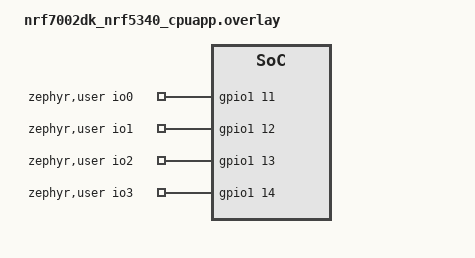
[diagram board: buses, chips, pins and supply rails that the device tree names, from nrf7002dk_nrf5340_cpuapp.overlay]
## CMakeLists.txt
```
cmake_minimum_required(VERSION 3.20.0)
find_package(Zephyr REQUIRED HINTS $ENV{ZEPHYR_BASE})

project(twt-testbed)

target_include_directories(app PRIVATE ${ZEPHYR_BASE}/subsys/net/ip)

zephyr_include_directories(${ZEPHYR_BASE}/modules/mbedtls/include)

# Include directories for each module
target_include_directories(app PRIVATE
    ${CMAKE_CURRENT_SOURCE_DIR}/src/coap
    ${CMAKE_CURRENT_SOURCE_DIR}/src/profiler
    ${CMAKE_CURRENT_SOURCE_DIR}/src/wifi
    ${CMAKE_CURRENT_SOURCE_DIR}/src/tests
)

# Main source file
target_sources(app PRIVATE src/main.c)

# CoAP module
target_sources(app PRIVATE 
    src/coap/coap.c
    src/coap/coap_utils.c
    src/coap/coap_security.c
    )

# Profiler module
target_sources(app PRIVATE src/profiler/profiler.c)

# WiFi module
target_sources(app PRIVATE
    src/wifi/wifi_ps.c
    src/wifi/wifi_sta.c
    src/wifi/wifi_twt.c
    src/wifi/wifi_utils.c
)

# Tests module
target_sources(app PRIVATE 
    src/tests/test_runner.c
    src/tests/test_report.c
    src/tests/test_global.c
    src/tests/test_sensor_twt.c
    src/tests/test_sensor_ps.c
    src/tests/test_sensor_twt_public_server.c
    src/tests/test_sensor_ps_public_server.c
    src/tests/test_large_packet_ps.c
    src/tests/test_large_packet_ps_public_server.c
    src/tests/test_large_packet_twt.c
    src/tests/test_large_packet_twt_public_server.c
    src/tests/test_actuator_ps.c
    src/tests/test_actuator_ps_public_server.c
    src/tests/test_actuator_twt.c
    src/tests/test_actuator_twt_public_server.c
    src/tests/test_multi_packet_ps.c
    src/tests/test_multi_packet_ps_public_server.c
    src/tests/test_multi_packet_twt.c
    src/tests/test_multi_packet_twt_public_server.c
)
```

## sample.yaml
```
sample:
  description: Wi-Fi TWT testbed
    application
  name: twt-testbed
tests:
  twt-testbed:
    integration_platforms:
      - nrf7002dk/nrf5340/cpuapp/ns
    platform_allow: nrf7002dk/nrf5340/cpuapp/ns
```

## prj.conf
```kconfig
#
# Copyright (c) 2025 Nordic Semiconductor ASA
#
# SPDX-License-Identifier: LicenseRef-Nordic-5-Clause
#

# General
CONFIG_LOG=y
CONFIG_ASSERT=y
CONFIG_REBOOT=y
CONFIG_MAIN_STACK_SIZE=8192
CONFIG_LOG_BUFFER_SIZE=8192
CONFIG_ENTROPY_GENERATOR=y
CONFIG_HEAP_MEM_POOL_SIZE=120000


# WiFi
CONFIG_WIFI=y
CONFIG_WIFI_NRF70=y
CONFIG_WIFI_NM_WPA_SUPPLICANT=y
CONFIG_NRF_WIFI_RPU_RECOVERY=y
CONFIG_WIFI_MGMT_EXT=y
CONFIG_WIFI_CREDENTIALS=y
CONFIG_WIFI_CREDENTIALS_STATIC=y




# Networking
CONFIG_NETWORKING=y
CONFIG_NET_SOCKETS=y
CONFIG_NET_IPV4=y
CONFIG_NET_UDP=y
CONFIG_NET_DHCPV4=y
CONFIG_NET_IPV6=y


#priority
CONFIG_NET_CONTEXT_PRIORITY=y

# CoAP
CONFIG_COAP=y

# DNS
CONFIG_DNS_RESOLVER=y


#DTLS
CONFIG_MBEDTLS=y
CONFIG_MBEDTLS_ENABLE_HEAP=y
CONFIG_MBEDTLS_HEAP_SIZE=65536
CONFIG_MBEDTLS_SSL_MAX_CONTENT_LEN=2048
CONFIG_MBEDTLS_KEY_EXCHANGE_PSK_ENABLED=y
CONFIG_MBEDTLS_CIPHER_AES_ENABLED=y
CONFIG_MBEDTLS_SHA256_C=y
CONFIG_MBEDTLS_CIPHER_MODE_CBC=y
CONFIG_MBEDTLS_SSL_DTLS_CONNECTION_ID=y
CONFIG_MBEDTLS_SSL_PROTO_DTLS=y
CONFIG_NET_SOCKETS_SOCKOPT_TLS=y
CONFIG_NET_SOCKETS_ENABLE_DTLS=y
```

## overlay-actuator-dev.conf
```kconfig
CONFIG_COAP_TWT_TESTBED_SERVER=y
CONFIG_COAP_TEST_SERVER_HOSTNAME="192.168.1.228"
CONFIG_COAP_TEST_SERVER_PORT=5683
CONFIG_WIFI_CREDENTIALS_STATIC_SSID="asus-ax58u"
CONFIG_WIFI_CREDENTIALS_STATIC_PASSWORD="twttestbench"
CONFIG_TWT_ANNOUNCED_MODE=y
CONFIG_TWT_IMPLICIT=y
CONFIG_PS_LISTEN_INTERVAL=10
CONFIG_ACTUATOR_TESTS_ENABLE=y
CONFIG_ACTUATOR_PS_TEST_1=y
CONFIG_ACTUATOR_PS_TEST_1_MIN_INTERVAL=20
CONFIG_ACTUATOR_PS_TEST_1_MAX_INTERVAL=40
CONFIG_ACTUATOR_PS_TEST_1_ECHO=y
CONFIG_ACTUATOR_PS_TEST_1_TIME=900
CONFIG_MY_MAIN_LOG_LEVEL=3
CONFIG_MY_WIFI_LOG_LEVEL=3
CONFIG_MY_COAP_LOG_LEVEL=3
CONFIG_MY_TEST_LOG_LEVEL=3
CONFIG_WIFI=y
CONFIG_MAIN_STACK_SIZE=8192
CONFIG_INIT_STACKS=y
CONFIG_LOG=y
CONFIG_ASSERT=y
CONFIG_REBOOT=y
CONFIG_LOG_BUFFER_SIZE=4096
CONFIG_NET_PKT_RX_COUNT=8
CONFIG_NET_PKT_TX_COUNT=8
CONFIG_HEAP_MEM_POOL_SIZE=120000
CONFIG_WIFI_CREDENTIALS=y
CONFIG_WIFI_CREDENTIALS_STATIC=y
CONFIG_HEAP_MEM_POOL_IGNORE_MIN=y
CONFIG_NRF70_RX_NUM_BUFS=16
CONFIG_NETWORKING=y
CONFIG_NET_IPV4=y
CONFIG_NET_TCP=y
CONFIG_NET_MAX_CONTEXTS=5
CONFIG_NET_BUF_RX_COUNT=8
CONFIG_NET_BUF_TX_COUNT=16
CONFIG_COAP=y
CONFIG_COAP_CLIENT=y
CONFIG_COAP_CLIENT_THREAD_PRIORITY=10
CONFIG_COAP_CLIENT_MESSAGE_SIZE=1024
CONFIG_COAP_CLIENT_MESSAGE_HEADER_SIZE=64
CONFIG_DNS_RESOLVER=y
CONFIG_NET_CONFIG_SETTINGS=y
CONFIG_NET_CONFIG_INIT_TIMEOUT=0
CONFIG_NET_SOCKETS_POLL_MAX=10
CONFIG_NET_DHCPV4=y
CONFIG_ACTUATOR_TWT_TESTS_ENABLE=y
CONFIG_ACTUATOR_TWT_TEST_1=y
CONFIG_ACTUATOR_TWT_TEST_1_MIN_INTERVAL=20
CONFIG_ACTUATOR_TWT_TEST_1_MAX_INTERVAL=40
CONFIG_ACTUATOR_TWT_TEST_1_ECHO=y
CONFIG_ACTUATOR_TWT_TEST_1_TIME=900
CONFIG_ACTUATOR_TWT_TEST_1_INTERVAL=5000
CONFIG_ACTUATOR_TWT_TEST_1_SESSION_DURATION=8
CONFIG_ACTUATOR_PS_TESTS_ENABLE=y
```

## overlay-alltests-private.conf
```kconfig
#
# Copyright (c) 2025 Nordic Semiconductor ASA
#
# SPDX-License-Identifier: LicenseRef-Nordic-5-Clause
#

#CoAP settings
CONFIG_COAP_TEST_SERVER_HOSTNAME="192.168.1.228"
CONFIG_COAP_TEST_SERVER_PORT=5684
CONFIG_COAP_TWT_TESTBED_SERVER=y

#CoAP security settings
CONFIG_COAP_SECURE=y
CONFIG_COAP_SERVER_DTLS_PSK_ID="twttestbed"
CONFIG_COAP_SERVER_DTLS_PSK="secretkey"
CONFIG_COAP_DTLS_PEER_VERIFY=y
CONFIG_COAP_DTLS_CID=y
CONFIG_COAP_DTLS_CIPHERSUITE_TLS_PSK_WITH_AES_128_CBC_SHA256=n
CONFIG_COAP_DTLS_CIPHERSUITE_TLS_ECDHE_PSK_WITH_AES_128_CBC_SHA256=y

#WiFi settings
CONFIG_WIFI_CREDENTIALS_STATIC_SSID="asus-ax58u"
CONFIG_WIFI_CREDENTIALS_STATIC_PASSWORD="twttestbench"

CONFIG_TWT_IMPLICIT=y
CONFIG_TWT_ANNOUNCED_MODE=y
CONFIG_TWT_TRIGGER=n

CONFIG_PS_LISTEN_INTERVAL=10

#IP settings
CONFIG_IP_PROTO_IPV4=y
CONFIG_IP_PROTO_IPV6=n


#test enable
CONFIG_SENSOR_TESTS_ENABLE=y
CONFIG_SENSOR_PS_TESTS_ENABLE=y
CONFIG_SENSOR_TWT_TESTS_ENABLE=y

CONFIG_LARGE_PACKET_TESTS_ENABLE=y
CONFIG_LARGE_PACKET_PS_TESTS_ENABLE=y
CONFIG_LARGE_PACKET_TWT_TESTS_ENABLE=y

CONFIG_ACTUATOR_TESTS_ENABLE=y
CONFIG_ACTUATOR_PS_TESTS_ENABLE=y
CONFIG_ACTUATOR_TWT_TESTS_ENABLE=y

CONFIG_MULTI_PACKET_TESTS_ENABLE=y
CONFIG_MULTI_PACKET_PS_TESTS_ENABLE=y
CONFIG_MULTI_PACKET_TWT_TESTS_ENABLE=y


#Sensor PS tests settings
CONFIG_SENSOR_PS_TEST_1=y
CONFIG_SENSOR_PS_TEST_1_ITERATIONS=5
CONFIG_SENSOR_PS_TEST_1_SEND_INTERVAL=5000
CONFIG_SENSOR_PS_TEST_1_MODE_LEGACY=y
CONFIG_SENSOR_PS_TEST_1_MODE_WMM=n
CONFIG_SENSOR_PS_TEST_1_WAKEUP_MODE_DTIM=y
CONFIG_SENSOR_PS_TEST_1_WAKEUP_MODE_LISTENINTERVAL=n

CONFIG_SENSOR_PS_TEST_2=y
CONFIG_SENSOR_PS_TEST_2_ITERATIONS=5
CONFIG_SENSOR_PS_TEST_2_SEND_INTERVAL=5000
CONFIG_SENSOR_PS_TEST_2_MODE_LEGACY=n
CONFIG_SENSOR_PS_TEST_2_MODE_WMM=y
CONFIG_SENSOR_PS_TEST_2_WAKEUP_MODE_DTIM=y
CONFIG_SENSOR_PS_TEST_2_WAKEUP_MODE_LISTENINTERVAL=n

CONFIG_SENSOR_PS_TEST_3=y
CONFIG_SENSOR_PS_TEST_3_ITERATIONS=5
CONFIG_SENSOR_PS_TEST_3_SEND_INTERVAL=5000
CONFIG_SENSOR_PS_TEST_3_MODE_LEGACY=y
CONFIG_SENSOR_PS_TEST_3_MODE_WMM=n
CONFIG_SENSOR_PS_TEST_3_WAKEUP_MODE_DTIM=n
CONFIG_SENSOR_PS_TEST_3_WAKEUP_MODE_LISTENINTERVAL=y

CONFIG_SENSOR_PS_TEST_4=y
CONFIG_SENSOR_PS_TEST_4_ITERATIONS=5
CONFIG_SENSOR_PS_TEST_4_SEND_INTERVAL=5000
CONFIG_SENSOR_PS_TEST_4_MODE_LEGACY=n
CONFIG_SENSOR_PS_TEST_4_MODE_WMM=y
CONFIG_SENSOR_PS_TEST_4_WAKEUP_MODE_DTIM=n
CONFIG_SENSOR_PS_TEST_4_WAKEUP_MODE_LISTENINTERVAL=y


#Sensor TWT tests settings
CONFIG_SENSOR_TWT_TEST_1=y
CONFIG_SENSOR_TWT_TEST_1_RECOVER=n
CONFIG_SENSOR_TWT_TEST_1_ITERATIONS=5
CONFIG_SENSOR_TWT_TEST_1_INTERVAL=5000
CONFIG_SENSOR_TWT_TEST_1_SESSION_DURATION=8

CONFIG_SENSOR_TWT_TEST_2=y
CONFIG_SENSOR_TWT_TEST_2_RECOVER=n
CONFIG_SENSOR_TWT_TEST_2_ITERATIONS=5
CONFIG_SENSOR_TWT_TEST_2_INTERVAL=5000
CONFIG_SENSOR_TWT_TEST_2_SESSION_DURATION=64

CONFIG_SENSOR_TWT_TEST_3=y
CONFIG_SENSOR_TWT_TEST_3_RECOVER=y
CONFIG_SENSOR_TWT_TEST_3_RECOVER_MAX_PENDING=2
CONFIG_SENSOR_TWT_TEST_3_ITERATIONS=5
CONFIG_SENSOR_TWT_TEST_3_INTERVAL=5000
CONFIG_SENSOR_TWT_TEST_3_SESSION_DURATION=8

CONFIG_SENSOR_TWT_TEST_4=y
CONFIG_SENSOR_TWT_TEST_4_RECOVER=y
CONFIG_SENSOR_TWT_TEST_4_RECOVER_MAX_PENDING=2
CONFIG_SENSOR_TWT_TEST_4_ITERATIONS=5
CONFIG_SENSOR_TWT_TEST_4_INTERVAL=5000
CONFIG_SENSOR_TWT_TEST_4_SESSION_DURATION=64

#Large packet PS tests settings
CONFIG_LARGE_PACKET_PS_TEST_1=y
CONFIG_LARGE_PACKET_PS_TEST_1_SERVER_LREQ_SRES=y
CONFIG_LARGE_PACKET_PS_TEST_1_SERVER_SREQ_LRES=n
CONFIG_LARGE_PACKET_PS_TEST_1_SERVER_LREQ_LRES=n
CONFIG_LARGE_PACKET_PS_TEST_1_ITERATIONS=5
CONFIG_LARGE_PACKET_PS_TEST_1_SEND_INTERVAL=5000
CONFIG_LARGE_PACKET_PS_TEST_1_NUM_BYTES=1000
CONFIG_LARGE_PACKET_PS_TEST_1_MODE_LEGACY=y
CONFIG_LARGE_PACKET_PS_TEST_1_MODE_WMM=n
CONFIG_LARGE_PACKET_PS_TEST_1_WAKEUP_MODE_DTIM=y
CONFIG_LARGE_PACKET_PS_TEST_1_WAKEUP_MODE_LISTENINTERVAL=n

CONFIG_LARGE_PACKET_PS_TEST_2=y
CONFIG_LARGE_PACKET_PS_TEST_2_SERVER_LREQ_SRES=n
CONFIG_LARGE_PACKET_PS_TEST_2_SERVER_SREQ_LRES=y
CONFIG_LARGE_PACKET_PS_TEST_2_SERVER_LREQ_LRES=n
CONFIG_LARGE_PACKET_PS_TEST_2_ITERATIONS=5
CONFIG_LARGE_PACKET_PS_TEST_2_SEND_INTERVAL=5000
CONFIG_LARGE_PACKET_PS_TEST_2_NUM_BYTES=1000
CONFIG_LARGE_PACKET_PS_TEST_2_MODE_LEGACY=y
CONFIG_LARGE_PACKET_PS_TEST_2_MODE_WMM=n
CONFIG_LARGE_PACKET_PS_TEST_2_WAKEUP_MODE_DTIM=y
CONFIG_LARGE_PACKET_PS_TEST_2_WAKEUP_MODE_LISTENINTERVAL=n

CONFIG_LARGE_PACKET_PS_TEST_3=y
CONFIG_LARGE_PACKET_PS_TEST_3_SERVER_LREQ_SRES=n
CONFIG_LARGE_PACKET_PS_TEST_3_SERVER_SREQ_LRES=n
CONFIG_LARGE_PACKET_PS_TEST_3_SERVER_LREQ_LRES=y
CONFIG_LARGE_PACKET_PS_TEST_3_ITERATIONS=5
CONFIG_LARGE_PACKET_PS_TEST_3_SEND_INTERVAL=5000
CONFIG_LARGE_PACKET_PS_TEST_3_NUM_BYTES=1000
CONFIG_LARGE_PACKET_PS_TEST_3_MODE_LEGACY=y
CONFIG_LARGE_PACKET_PS_TEST_3_MODE_WMM=n
CONFIG_LARGE_PACKET_PS_TEST_3_WAKEUP_MODE_DTIM=y
CONFIG_LARGE_PACKET_PS_TEST_3_WAKEUP_MODE_LISTENINTERVAL=n



#Large packet TWT tests settings
CONFIG_LARGE_PACKET_TWT_TEST_1=y
CONFIG_LARGE_PACKET_TWT_TEST_1_SERVER_LREQ_SRES=y
CONFIG_LARGE_PACKET_TWT_TEST_1_SERVER_SREQ_LRES=n
CONFIG_LARGE_PACKET_TWT_TEST_1_SERVER_LREQ_LRES=n
CONFIG_LARGE_PACKET_TWT_TEST_1_ITERATIONS=5
CONFIG_LARGE_PACKET_TWT_TEST_1_INTERVAL=5000
CONFIG_LARGE_PACKET_TWT_TEST_1_SESSION_DURATION=8
CONFIG_LARGE_PACKET_TWT_TEST_1_NUM_BYTES=1000

CONFIG_LARGE_PACKET_TWT_TEST_2=y
CONFIG_LARGE_PACKET_TWT_TEST_2_SERVER_LREQ_SRES=n
CONFIG_LARGE_PACKET_TWT_TEST_2_SERVER_SREQ_LRES=y
CONFIG_LARGE_PACKET_TWT_TEST_2_SERVER_LREQ_LRES=n
CONFIG_LARGE_PACKET_TWT_TEST_2_ITERATIONS=5
CONFIG_LARGE_PACKET_TWT_TEST_2_INTERVAL=5000
CONFIG_LARGE_PACKET_TWT_TEST_2_SESSION_DURATION=8
CONFIG_LARGE_PACKET_TWT_TEST_2_NUM_BYTES=1000

CONFIG_LARGE_PACKET_TWT_TEST_3=y
CONFIG_LARGE_PACKET_TWT_TEST_3_SERVER_LREQ_SRES=n
CONFIG_LARGE_PACKET_TWT_TEST_3_SERVER_SREQ_LRES=n
CONFIG_LARGE_PACKET_TWT_TEST_3_SERVER_LREQ_LRES=y
CONFIG_LARGE_PACKET_TWT_TEST_3_ITERATIONS=5
CONFIG_LARGE_PACKET_TWT_TEST_3_INTERVAL=5000
CONFIG_LARGE_PACKET_TWT_TEST_3_SESSION_DURATION=8
CONFIG_LARGE_PACKET_TWT_TEST_3_NUM_BYTES=1000

#Actuator PS tests settings
CONFIG_ACTUATOR_PS_TEST_1=y
CONFIG_ACTUATOR_PS_TEST_1_TIME=30
CONFIG_ACTUATOR_PS_TEST_1_MIN_INTERVAL=5
CONFIG_ACTUATOR_PS_TEST_1_MAX_INTERVAL=10
CONFIG_ACTUATOR_PS_TEST_1_ECHO=n
CONFIG_ACTUATOR_PS_TEST_1_MODE_LEGACY=y
CONFIG_ACTUATOR_PS_TEST_1_MODE_WMM=n
CONFIG_ACTUATOR_PS_TEST_1_WAKEUP_MODE_DTIM=y
CONFIG_ACTUATOR_PS_TEST_1_WAKEUP_MODE_LISTENINTERVAL=n

CONFIG_ACTUATOR_PS_TEST_2=y
CONFIG_ACTUATOR_PS_TEST_2_TIME=30
CONFIG_ACTUATOR_PS_TEST_2_MIN_INTERVAL=5
CONFIG_ACTUATOR_PS_TEST_2_MAX_INTERVAL=10
CONFIG_ACTUATOR_PS_TEST_2_ECHO=n
CONFIG_ACTUATOR_PS_TEST_2_MODE_LEGACY=y
CONFIG_ACTUATOR_PS_TEST_2_MODE_WMM=n
CONFIG_ACTUATOR_PS_TEST_2_WAKEUP_MODE_DTIM=n
CONFIG_ACTUATOR_PS_TEST_2_WAKEUP_MODE_LISTENINTERVAL=y

CONFIG_ACTUATOR_PS_TEST_3=y
CONFIG_ACTUATOR_PS_TEST_3_TIME=30
CONFIG_ACTUATOR_PS_TEST_3_MIN_INTERVAL=5
CONFIG_ACTUATOR_PS_TEST_3_MAX_INTERVAL=10
CONFIG_ACTUATOR_PS_TEST_3_ECHO=y
CONFIG_ACTUATOR_PS_TEST_3_MODE_LEGACY=y
CONFIG_ACTUATOR_PS_TEST_3_MODE_WMM=n
CONFIG_ACTUATOR_PS_TEST_3_WAKEUP_MODE_DTIM=y
CONFIG_ACTUATOR_PS_TEST_3_WAKEUP_MODE_LISTENINTERVAL=n

CONFIG_ACTUATOR_PS_TEST_4=y
CONFIG_ACTUATOR_PS_TEST_4_TIME=30
CONFIG_ACTUATOR_PS_TEST_4_MIN_INTERVAL=5
CONFIG_ACTUATOR_PS_TEST_4_MAX_INTERVAL=10
CONFIG_ACTUATOR_PS_TEST_4_ECHO=y
CONFIG_ACTUATOR_PS_TEST_4_MODE_LEGACY=y
CONFIG_ACTUATOR_PS_TEST_4_MODE_WMM=n
CONFIG_ACTUATOR_PS_TEST_4_WAKEUP_MODE_DTIM=n
CONFIG_ACTUATOR_PS_TEST_4_WAKEUP_MODE_LISTENINTERVAL=y

#Actuator TWT tests settings
CONFIG_ACTUATOR_TWT_TEST_1=y
CONFIG_ACTUATOR_TWT_TEST_1_TIME=30
CONFIG_ACTUATOR_TWT_TEST_1_MIN_INTERVAL=5
CONFIG_ACTUATOR_TWT_TEST_1_MAX_INTERVAL=10
CONFIG_ACTUATOR_TWT_TEST_1_ECHO=n
CONFIG_ACTUATOR_TWT_TEST_1_INTERVAL=2000
CONFIG_ACTUATOR_TWT_TEST_1_SESSION_DURATION=8
CONFIG_ACTUATOR_TWT_TEST_1_EMERGENCY_UPLINK=n

CONFIG_ACTUATOR_TWT_TEST_2=y
CONFIG_ACTUATOR_TWT_TEST_2_TIME=30
CONFIG_ACTUATOR_TWT_TEST_2_MIN_INTERVAL=5
CONFIG_ACTUATOR_TWT_TEST_2_MAX_INTERVAL=10
CONFIG_ACTUATOR_TWT_TEST_2_ECHO=n
CONFIG_ACTUATOR_TWT_TEST_2_INTERVAL=5000
CONFIG_ACTUATOR_TWT_TEST_2_SESSION_DURATION=8
CONFIG_ACTUATOR_TWT_TEST_2_EMERGENCY_UPLINK=n

CONFIG_ACTUATOR_TWT_TEST_3=y
CONFIG_ACTUATOR_TWT_TEST_3_TIME=30
CONFIG_ACTUATOR_TWT_TEST_3_MIN_INTERVAL=5
CONFIG_ACTUATOR_TWT_TEST_3_MAX_INTERVAL=10
CONFIG_ACTUATOR_TWT_TEST_3_ECHO=y
CONFIG_ACTUATOR_TWT_TEST_3_INTERVAL=5000
CONFIG_ACTUATOR_TWT_TEST_3_SESSION_DURATION=8
CONFIG_ACTUATOR_TWT_TEST_3_EMERGENCY_UPLINK=n

CONFIG_ACTUATOR_TWT_TEST_4=y
CONFIG_ACTUATOR_TWT_TEST_4_TIME=30
CONFIG_ACTUATOR_TWT_TEST_4_MIN_INTERVAL=5
CONFIG_ACTUATOR_TWT_TEST_4_MAX_INTERVAL=10
CONFIG_ACTUATOR_TWT_TEST_4_ECHO=y
CONFIG_ACTUATOR_TWT_TEST_4_INTERVAL=5000
CONFIG_ACTUATOR_TWT_TEST_4_SESSION_DURATION=8
CONFIG_ACTUATOR_TWT_TEST_4_EMERGENCY_UPLINK=y

#multi packet PS tests settings
CONFIG_MULTI_PACKET_PS_TEST_1=y
CONFIG_MULTI_PACKET_PS_TEST_1_ITERATIONS=5
CONFIG_MULTI_PACKET_PS_TEST_1_PACKET_NBR=10
CONFIG_MULTI_PACKET_PS_TEST_1_MODE_LEGACY=y
CONFIG_MULTI_PACKET_PS_TEST_1_MODE_WMM=n
CONFIG_MULTI_PACKET_PS_TEST_1_WAKEUP_MODE_DTIM=y
CONFIG_MULTI_PACKET_PS_TEST_1_WAKEUP_MODE_LISTENINTERVAL=n

CONFIG_MULTI_PACKET_PS_TEST_2=y
CONFIG_MULTI_PACKET_PS_TEST_2_ITERATIONS=5
CONFIG_MULTI_PACKET_PS_TEST_2_PACKET_NBR=10
CONFIG_MULTI_PACKET_PS_TEST_2_MODE_LEGACY=y
CONFIG_MULTI_PACKET_PS_TEST_2_MODE_WMM=n
CONFIG_MULTI_PACKET_PS_TEST_2_WAKEUP_MODE_DTIM=n
CONFIG_MULTI_PACKET_PS_TEST_2_WAKEUP_MODE_LISTENINTERVAL=y


#multi-packet-TWT settings
CONFIG_MULTI_PACKET_TWT_TEST_1=y
CONFIG_MULTI_PACKET_TWT_TEST_1_ITERATIONS=5
CONFIG_MULTI_PACKET_TWT_TEST_1_INTERVAL=5000
CONFIG_MULTI_PACKET_TWT_TEST_1_SESSION_DURATION=8
CONFIG_MULTI_PACKET_TWT_TEST_1_PACKET_NBR=10

CONFIG_MULTI_PACKET_TWT_TEST_2=y
CONFIG_MULTI_PACKET_TWT_TEST_2_ITERATIONS=5
CONFIG_MULTI_PACKET_TWT_TEST_2_INTERVAL=5000
CONFIG_MULTI_PACKET_TWT_TEST_2_SESSION_DURATION=64
CONFIG_MULTI_PACKET_TWT_TEST_2_PACKET_NBR=10



#Logging settings
CONFIG_MY_MAIN_LOG_LEVEL=3
CONFIG_MY_WIFI_LOG_LEVEL=3
CONFIG_MY_COAP_LOG_LEVEL=3
CONFIG_MY_TEST_LOG_LEVEL=3
CONFIG_PROFILER_ENABLE=n
```

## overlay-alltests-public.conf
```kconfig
#
# Copyright (c) 2025 Nordic Semiconductor ASA
#
# SPDX-License-Identifier: LicenseRef-Nordic-5-Clause
#

#CoAP settings
CONFIG_COAP_TEST_SERVER_HOSTNAME="californium.eclipseprojects.io"
CONFIG_COAP_TEST_SERVER_PORT=5684
CONFIG_COAP_TWT_TESTBED_SERVER=n
CONFIG_COAP_SENSOR_TEST_RESOURCE="validate"
CONFIG_COAP_ACTUATOR_TEST_RESOURCE="obs"

#CoAP security settings
CONFIG_COAP_SECURE=y
CONFIG_COAP_SERVER_DTLS_PSK_ID="cali.svk.nrf70"
CONFIG_COAP_SERVER_DTLS_PSK=".fornium"
CONFIG_COAP_DTLS_PEER_VERIFY=y
CONFIG_COAP_DTLS_CID=y
CONFIG_COAP_DTLS_CIPHERSUITE_TLS_PSK_WITH_AES_128_CBC_SHA256=n
CONFIG_COAP_DTLS_CIPHERSUITE_TLS_ECDHE_PSK_WITH_AES_128_CBC_SHA256=y

#WiFi settings
CONFIG_WIFI_CREDENTIALS_STATIC_SSID="asus-ax58u"
CONFIG_WIFI_CREDENTIALS_STATIC_PASSWORD="twttestbench"

CONFIG_TWT_IMPLICIT=y
CONFIG_TWT_ANNOUNCED_MODE=y
CONFIG_TWT_TRIGGER=n

CONFIG_PS_LISTEN_INTERVAL=10

#IP settings
CONFIG_IP_PROTO_IPV4=y
CONFIG_IP_PROTO_IPV6=n


#test enable
CONFIG_SENSOR_TESTS_ENABLE=y
CONFIG_SENSOR_PS_TESTS_ENABLE=y
CONFIG_SENSOR_TWT_TESTS_ENABLE=y

CONFIG_LARGE_PACKET_TESTS_ENABLE=y
CONFIG_LARGE_PACKET_PS_TESTS_ENABLE=y
CONFIG_LARGE_PACKET_TWT_TESTS_ENABLE=y

CONFIG_ACTUATOR_TESTS_ENABLE=y
CONFIG_ACTUATOR_PS_TESTS_ENABLE=y
CONFIG_ACTUATOR_TWT_TESTS_ENABLE=y

CONFIG_MULTI_PACKET_TESTS_ENABLE=y
CONFIG_MULTI_PACKET_PS_TESTS_ENABLE=y
CONFIG_MULTI_PACKET_TWT_TESTS_ENABLE=y


#Sensor PS tests settings
CONFIG_SENSOR_PS_TEST_1=y
CONFIG_SENSOR_PS_TEST_1_ITERATIONS=5
CONFIG_SENSOR_PS_TEST_1_SEND_INTERVAL=5000
CONFIG_SENSOR_PS_TEST_1_MODE_LEGACY=y
CONFIG_SENSOR_PS_TEST_1_MODE_WMM=n
CONFIG_SENSOR_PS_TEST_1_WAKEUP_MODE_DTIM=y
CONFIG_SENSOR_PS_TEST_1_WAKEUP_MODE_LISTENINTERVAL=n

CONFIG_SENSOR_PS_TEST_2=y
CONFIG_SENSOR_PS_TEST_2_ITERATIONS=5
CONFIG_SENSOR_PS_TEST_2_SEND_INTERVAL=5000
CONFIG_SENSOR_PS_TEST_2_MODE_LEGACY=n
CONFIG_SENSOR_PS_TEST_2_MODE_WMM=y
CONFIG_SENSOR_PS_TEST_2_WAKEUP_MODE_DTIM=y
CONFIG_SENSOR_PS_TEST_2_WAKEUP_MODE_LISTENINTERVAL=n

CONFIG_SENSOR_PS_TEST_3=y
CONFIG_SENSOR_PS_TEST_3_ITERATIONS=5
CONFIG_SENSOR_PS_TEST_3_SEND_INTERVAL=5000
CONFIG_SENSOR_PS_TEST_3_MODE_LEGACY=y
CONFIG_SENSOR_PS_TEST_3_MODE_WMM=n
CONFIG_SENSOR_PS_TEST_3_WAKEUP_MODE_DTIM=n
CONFIG_SENSOR_PS_TEST_3_WAKEUP_MODE_LISTENINTERVAL=y

CONFIG_SENSOR_PS_TEST_4=y
CONFIG_SENSOR_PS_TEST_4_ITERATIONS=5
CONFIG_SENSOR_PS_TEST_4_SEND_INTERVAL=5000
CONFIG_SENSOR_PS_TEST_4_MODE_LEGACY=n
CONFIG_SENSOR_PS_TEST_4_MODE_WMM=y
CONFIG_SENSOR_PS_TEST_4_WAKEUP_MODE_DTIM=n
CONFIG_SENSOR_PS_TEST_4_WAKEUP_MODE_LISTENINTERVAL=y


#Sensor TWT tests settings
CONFIG_SENSOR_TWT_TEST_1=y
CONFIG_SENSOR_TWT_TEST_1_RECOVER=n
CONFIG_SENSOR_TWT_TEST_1_ITERATIONS=5
CONFIG_SENSOR_TWT_TEST_1_INTERVAL=5000
CONFIG_SENSOR_TWT_TEST_1_SESSION_DURATION=8

CONFIG_SENSOR_TWT_TEST_2=y
CONFIG_SENSOR_TWT_TEST_2_RECOVER=n
CONFIG_SENSOR_TWT_TEST_2_ITERATIONS=5
CONFIG_SENSOR_TWT_TEST_2_INTERVAL=5000
CONFIG_SENSOR_TWT_TEST_2_SESSION_DURATION=64

CONFIG_SENSOR_TWT_TEST_3=y
CONFIG_SENSOR_TWT_TEST_3_RECOVER=y
CONFIG_SENSOR_TWT_TEST_3_RECOVER_MAX_PENDING=2
CONFIG_SENSOR_TWT_TEST_3_ITERATIONS=5
CONFIG_SENSOR_TWT_TEST_3_INTERVAL=5000
CONFIG_SENSOR_TWT_TEST_3_SESSION_DURATION=8

CONFIG_SENSOR_TWT_TEST_4=y
CONFIG_SENSOR_TWT_TEST_4_RECOVER=y
CONFIG_SENSOR_TWT_TEST_4_RECOVER_MAX_PENDING=2
CONFIG_SENSOR_TWT_TEST_4_ITERATIONS=5
CONFIG_SENSOR_TWT_TEST_4_INTERVAL=5000
CONFIG_SENSOR_TWT_TEST_4_SESSION_DURATION=64

#Large packet PS tests settings
CONFIG_LARGE_PACKET_PS_TEST_1=y
CONFIG_LARGE_PACKET_PS_TEST_1_ITERATIONS=5
CONFIG_LARGE_PACKET_PS_TEST_1_SEND_INTERVAL=5000
CONFIG_LARGE_PACKET_PS_TEST_1_NUM_BYTES=1000
CONFIG_LARGE_PACKET_PS_TEST_1_MODE_LEGACY=y
CONFIG_LARGE_PACKET_PS_TEST_1_MODE_WMM=n
CONFIG_LARGE_PACKET_PS_TEST_1_WAKEUP_MODE_DTIM=y
CONFIG_LARGE_PACKET_PS_TEST_1_WAKEUP_MODE_LISTENINTERVAL=n

CONFIG_LARGE_PACKET_PS_TEST_2=n
CONFIG_LARGE_PACKET_PS_TEST_3=n

#Large packet TWT tests settings
CONFIG_LARGE_PACKET_TWT_TEST_1=y
CONFIG_LARGE_PACKET_TWT_TEST_1_ITERATIONS=5
CONFIG_LARGE_PACKET_TWT_TEST_1_INTERVAL=5000
CONFIG_LARGE_PACKET_TWT_TEST_1_SESSION_DURATION=8
CONFIG_LARGE_PACKET_TWT_TEST_1_NUM_BYTES=1000

CONFIG_LARGE_PACKET_TWT_TEST_2=n
CONFIG_LARGE_PACKET_TWT_TEST_3=n

#Actuator PS tests settings
CONFIG_ACTUATOR_PS_TEST_1=y
CONFIG_ACTUATOR_PS_TEST_1_TIME=30
CONFIG_ACTUATOR_PS_TEST_1_MODE_LEGACY=y
CONFIG_ACTUATOR_PS_TEST_1_MODE_WMM=n
CONFIG_ACTUATOR_PS_TEST_1_WAKEUP_MODE_DTIM=y
CONFIG_ACTUATOR_PS_TEST_1_WAKEUP_MODE_LISTENINTERVAL=n

CONFIG_ACTUATOR_PS_TEST_2=n

CONFIG_ACTUATOR_PS_TEST_3=y
CONFIG_ACTUATOR_PS_TEST_3_TIME=30
CONFIG_ACTUATOR_PS_TEST_3_MODE_LEGACY=y
CONFIG_ACTUATOR_PS_TEST_3_MODE_WMM=n
CONFIG_ACTUATOR_PS_TEST_3_WAKEUP_MODE_DTIM=n
CONFIG_ACTUATOR_PS_TEST_3_WAKEUP_MODE_LISTENINTERVAL=y

CONFIG_ACTUATOR_PS_TEST_4=n

#Sensor TWT tests settings
CONFIG_ACTUATOR_TWT_TEST_1=y
CONFIG_ACTUATOR_TWT_TEST_1_TIME=30
CONFIG_ACTUATOR_TWT_TEST_1_INTERVAL=2000
CONFIG_ACTUATOR_TWT_TEST_1_SESSION_DURATION=8
CONFIG_ACTUATOR_TWT_TEST_1_EMERGENCY_UPLINK=n

CONFIG_ACTUATOR_TWT_TEST_2=y
CONFIG_ACTUATOR_TWT_TEST_2_TIME=30
CONFIG_ACTUATOR_TWT_TEST_2_INTERVAL=5000
CONFIG_ACTUATOR_TWT_TEST_2_SESSION_DURATION=8
CONFIG_ACTUATOR_TWT_TEST_2_EMERGENCY_UPLINK=y

CONFIG_ACTUATOR_TWT_TEST_3=y
CONFIG_ACTUATOR_TWT_TEST_3_TIME=30
CONFIG_ACTUATOR_TWT_TEST_3_INTERVAL=2000
CONFIG_ACTUATOR_TWT_TEST_3_SESSION_DURATION=64
CONFIG_ACTUATOR_TWT_TEST_3_EMERGENCY_UPLINK=n

CONFIG_ACTUATOR_TWT_TEST_4=y
CONFIG_ACTUATOR_TWT_TEST_4_TIME=30
CONFIG_ACTUATOR_TWT_TEST_4_INTERVAL=5000
CONFIG_ACTUATOR_TWT_TEST_4_SESSION_DURATION=64
CONFIG_ACTUATOR_TWT_TEST_4_EMERGENCY_UPLINK=n

#multi packet PS tests settings
CONFIG_MULTI_PACKET_PS_TEST_1=y
CONFIG_MULTI_PACKET_PS_TEST_1_ITERATIONS=5
CONFIG_MULTI_PACKET_PS_TEST_1_PACKET_NBR=10
CONFIG_MULTI_PACKET_PS_TEST_1_MODE_LEGACY=y
CONFIG_MULTI_PACKET_PS_TEST_1_MODE_WMM=n
CONFIG_MULTI_PACKET_PS_TEST_1_WAKEUP_MODE_DTIM=y
CONFIG_MULTI_PACKET_PS_TEST_1_WAKEUP_MODE_LISTENINTERVAL=n

CONFIG_MULTI_PACKET_PS_TEST_2=y
CONFIG_MULTI_PACKET_PS_TEST_2_ITERATIONS=5
CONFIG_MULTI_PACKET_PS_TEST_2_PACKET_NBR=10
CONFIG_MULTI_PACKET_PS_TEST_2_MODE_LEGACY=y
CONFIG_MULTI_PACKET_PS_TEST_2_MODE_WMM=n
CONFIG_MULTI_PACKET_PS_TEST_2_WAKEUP_MODE_DTIM=n
CONFIG_MULTI_PACKET_PS_TEST_2_WAKEUP_MODE_LISTENINTERVAL=y


#multi-packet-TWT settings
CONFIG_MULTI_PACKET_TWT_TEST_1=y
CONFIG_MULTI_PACKET_TWT_TEST_1_ITERATIONS=5
CONFIG_MULTI_PACKET_TWT_TEST_1_INTERVAL=5000
CONFIG_MULTI_PACKET_TWT_TEST_1_SESSION_DURATION=8
CONFIG_MULTI_PACKET_TWT_TEST_1_PACKET_NBR=10

CONFIG_MULTI_PACKET_TWT_TEST_2=y
CONFIG_MULTI_PACKET_TWT_TEST_2_ITERATIONS=5
CONFIG_MULTI_PACKET_TWT_TEST_2_INTERVAL=5000
CONFIG_MULTI_PACKET_TWT_TEST_2_SESSION_DURATION=64
CONFIG_MULTI_PACKET_TWT_TEST_2_PACKET_NBR=10


#Logging settings
CONFIG_MY_MAIN_LOG_LEVEL=3
CONFIG_MY_WIFI_LOG_LEVEL=3
CONFIG_MY_COAP_LOG_LEVEL=3
CONFIG_MY_TEST_LOG_LEVEL=3
CONFIG_PROFILER_ENABLE=n
```

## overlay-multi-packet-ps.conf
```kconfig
#CoAP settings
CONFIG_COAP_TEST_SERVER_HOSTNAME="californium.eclipseprojects.io"
CONFIG_COAP_TEST_SERVER_PORT=5683
CONFIG_COAP_TWT_TESTBED_SERVER=n
CONFIG_COAP_SENSOR_TEST_RESOURCE="validate"
CONFIG_COAP_ACTUATOR_TEST_RESOURCE="obs"

#WiFi settings
CONFIG_WIFI_CREDENTIALS_STATIC_SSID="asus-ax58u"
CONFIG_WIFI_CREDENTIALS_STATIC_PASSWORD="twttestbench"

CONFIG_TWT_IMPLICIT=y
CONFIG_TWT_ANNOUNCED_MODE=y
CONFIG_TWT_TRIGGER=n

CONFIG_PS_LISTEN_INTERVAL=10

#IP settings
CONFIG_IP_PROTO_IPV4=y
CONFIG_IP_PROTO_IPV6=n


#test enable
CONFIG_MULTI_PACKET_TESTS_ENABLE=y
CONFIG_MULTI_PACKET_TWT_TESTS_ENABLE=y


#multi-packet-TWT settings
CONFIG_MULTI_PACKET_TWT_TEST_1=y
CONFIG_MULTI_PACKET_TWT_TEST_1_ITERATIONS=5
CONFIG_MULTI_PACKET_TWT_TEST_1_INTERVAL=5000
CONFIG_MULTI_PACKET_TWT_TEST_1_SESSION_DURATION=8
CONFIG_MULTI_PACKET_TWT_TEST_1_PACKET_NBR=15

#Logging settings
CONFIG_MY_MAIN_LOG_LEVEL=3
CONFIG_MY_WIFI_LOG_LEVEL=3
CONFIG_MY_COAP_LOG_LEVEL=3
CONFIG_MY_TEST_LOG_LEVEL=3
CONFIG_PROFILER_ENABLE=n
```

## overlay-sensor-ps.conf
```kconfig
#CoAP settings
CONFIG_COAP_TEST_SERVER_HOSTNAME="californium.eclipseprojects.io"
CONFIG_COAP_TEST_SERVER_PORT=5684
CONFIG_COAP_TWT_TESTBED_SERVER=n
CONFIG_COAP_SENSOR_TEST_RESOURCE="validate"
CONFIG_COAP_ACTUATOR_TEST_RESOURCE="obs"

#CoAP security settings
CONFIG_COAP_SECURE=y
CONFIG_COAP_SERVER_DTLS_PSK_ID="cali.svk.nrf70"
CONFIG_COAP_SERVER_DTLS_PSK=".fornium"
CONFIG_COAP_DTLS_PEER_VERIFY=y
CONFIG_COAP_DTLS_CID=y
CONFIG_COAP_DTLS_CIPHERSUITE_TLS_PSK_WITH_AES_128_CBC_SHA256=n
CONFIG_COAP_DTLS_CIPHERSUITE_TLS_ECDHE_PSK_WITH_AES_128_CBC_SHA256=y

#WiFi settings
CONFIG_WIFI_CREDENTIALS_STATIC_SSID="ASUSL6"
CONFIG_WIFI_CREDENTIALS_STATIC_PASSWORD="boHman01"

CONFIG_TWT_IMPLICIT=y
CONFIG_TWT_ANNOUNCED_MODE=y
CONFIG_TWT_TRIGGER=n

CONFIG_PS_LISTEN_INTERVAL=10

#IP settings
CONFIG_IP_PROTO_IPV4=y
CONFIG_IP_PROTO_IPV6=n


#test enable
CONFIG_SENSOR_TESTS_ENABLE=y
CONFIG_SENSOR_PS_TESTS_ENABLE=y


#Sensor PS tests settings
CONFIG_SENSOR_PS_TEST_1=y
CONFIG_SENSOR_PS_TEST_1_ITERATIONS=5000
CONFIG_SENSOR_PS_TEST_1_SEND_INTERVAL=5000
CONFIG_SENSOR_PS_TEST_1_MODE_LEGACY=y
CONFIG_SENSOR_PS_TEST_1_MODE_WMM=n
CONFIG_SENSOR_PS_TEST_1_WAKEUP_MODE_DTIM=y
CONFIG_SENSOR_PS_TEST_1_WAKEUP_MODE_LISTENINTERVAL=n


#Logging settings
CONFIG_MY_MAIN_LOG_LEVEL=3
CONFIG_MY_WIFI_LOG_LEVEL=3
CONFIG_MY_COAP_LOG_LEVEL=3
CONFIG_MY_TEST_LOG_LEVEL=3
CONFIG_PROFILER_ENABLE=n
```

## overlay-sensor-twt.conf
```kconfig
#
# Copyright (c) 2025 Nordic Semiconductor ASA
#
# SPDX-License-Identifier: LicenseRef-Nordic-5-Clause
#

#CoAP settings
CONFIG_COAP_TEST_SERVER_HOSTNAME="2a00:801:719:50c4:e649:6e23:5713:2e3c"
CONFIG_COAP_TEST_SERVER_PORT=5684
CONFIG_COAP_TWT_TESTBED_SERVER=y

#CoAP security settings
CONFIG_COAP_SECURE=y
CONFIG_COAP_SERVER_DTLS_PSK_ID="twttestbed"
CONFIG_COAP_SERVER_DTLS_PSK="secretkey"
CONFIG_COAP_DTLS_PEER_VERIFY=y
CONFIG_COAP_DTLS_CID=y
CONFIG_COAP_DTLS_CIPHERSUITE_TLS_PSK_WITH_AES_128_CBC_SHA256=n
CONFIG_COAP_DTLS_CIPHERSUITE_TLS_ECDHE_PSK_WITH_AES_128_CBC_SHA256=y

#WiFi settings
CONFIG_WIFI_CREDENTIALS_STATIC_SSID="asus-ax58u"
CONFIG_WIFI_CREDENTIALS_STATIC_PASSWORD="twttestbench"

CONFIG_TWT_IMPLICIT=y
CONFIG_TWT_ANNOUNCED_MODE=y
CONFIG_TWT_TRIGGER=n

CONFIG_PS_LISTEN_INTERVAL=10

#IP settings
CONFIG_IP_PROTO_IPV4=n
CONFIG_IP_PROTO_IPV6=y


#test enable
CONFIG_SENSOR_TESTS_ENABLE=y
CONFIG_SENSOR_TWT_TESTS_ENABLE=y


#Sensor TWT tests settings
CONFIG_SENSOR_TWT_TEST_1=y
CONFIG_SENSOR_TWT_TEST_1_RECOVER=n
CONFIG_SENSOR_TWT_TEST_1_ITERATIONS=1000
CONFIG_SENSOR_TWT_TEST_1_INTERVAL=5000
CONFIG_SENSOR_TWT_TEST_1_SESSION_DURATION=8


#Logging settings
CONFIG_MY_MAIN_LOG_LEVEL=3
CONFIG_MY_WIFI_LOG_LEVEL=3
CONFIG_MY_COAP_LOG_LEVEL=3
CONFIG_MY_TEST_LOG_LEVEL=3
CONFIG_PROFILER_ENABLE=n
```

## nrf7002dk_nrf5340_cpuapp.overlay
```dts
/*
 * Copyright (c) 2025 Nordic Semiconductor ASA
 *
 * SPDX-License-Identifier: LicenseRef-Nordic-5-Clause
 */
 
/ {
	zephyr,user {
		io0-gpios = <&gpio1 11 GPIO_ACTIVE_HIGH>;
		io1-gpios = <&gpio1 12 GPIO_ACTIVE_HIGH>;
		io2-gpios = <&gpio1 13 GPIO_ACTIVE_HIGH>;
		io3-gpios = <&gpio1 14 GPIO_ACTIVE_HIGH>;
	};
};
```

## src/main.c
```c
/*
 * Copyright (c) 2025 Nordic Semiconductor ASA
 *
 * SPDX-License-Identifier: LicenseRef-Nordic-5-Clause
 */


#include <stdio.h>
#include <string.h>

#include <zephyr/kernel.h>
#include <zephyr/logging/log.h>
#include <zephyr/logging/log_ctrl.h>
#include <zephyr/random/random.h>
#include <zephyr/net/net_if.h>

#include "wifi_sta.h"
#include "wifi_ps.h"
#include "wifi_twt.h"

#ifdef CONFIG_COAP_SECURE
#include "coap_security.h"
#endif //CONFIG_COAP_SECURE

#include "coap.h"

#ifdef CONFIG_PROFILER_ENABLE
#include "profiler.h"
#endif //CONFIG_PROFILER_ENABLE

#include "test_runner.h"


LOG_MODULE_REGISTER(main, CONFIG_MY_MAIN_LOG_LEVEL);

//check for inconsistencies in the configuration and print warnings
static void check_config()
{
    //check if the CoAP server port is correct
    #ifndef CONFIG_COAP_SECURE
    if(CONFIG_COAP_TEST_SERVER_PORT != 5683){
        LOG_WRN("CoAP/UDP port is 5683, got %d", CONFIG_COAP_TEST_SERVER_PORT);
    }
    #else
    if(CONFIG_COAP_TEST_SERVER_PORT != 5684){
        LOG_WRN("CoAP/DTLS port is 5684, got %d", CONFIG_COAP_TEST_SERVER_PORT);
    }
    #endif //CONFIG_COAP_SECURE

    //check if the CoAP server hostname is correct
    #ifdef CONFIG_COAP_TWT_TESTBED_SERVER
    if(strcmp(CONFIG_COAP_TEST_SERVER_HOSTNAME, "californium.eclipseprojects.io") == 0){
        LOG_WRN("Californium public server is not compatible with TWT testbed private server features, remove CONFIG_COAP_TWT_TESTBED_SERVER to use public server");
    }
    #endif //CONFIG_COAP_TWT_TESTBED_SERVER
}


int main(void)
{
    int ret;

    LOG_INF("Starting TWT testbed ...");

    //check configuration
    check_config(); 

    // initialize setup

    #ifdef CONFIG_PROFILER_ENABLE
    ret = profiler_init();
    if(ret != 0)
    {
        LOG_ERR("Failed to initialize profiler");
        k_sleep(K_FOREVER);
    }
    #endif //CONFIG_PROFILER_ENABLE

    //configure DTLS credentials
    #ifdef CONFIG_COAP_SECURE
    ret = configure_psk();
    if(ret != 0)
    {
        LOG_ERR("Failed to configure PSK");
        k_sleep(K_FOREVER);
    }
    #endif //CONFIG_COAP_SECURE


    // initialize wifi
    wifi_init();
    wifi_ps_set_listen_interval(CONFIG_PS_LISTEN_INTERVAL);

    //connect to wifi
    ret = wifi_connect();
    if(ret != 0)
    {
        LOG_ERR("Failed to connect to wifi");
        k_sleep(K_FOREVER);
    }

    // initialize CoAP client
    coap_init();
    if(ret != 0)
    {
        LOG_ERR("Failed to initialize CoAP client");
        k_sleep(K_FOREVER);
    }

    k_sleep(K_SECONDS(1));

 
    #ifdef CONFIG_COAP_TWT_TESTBED_SERVER
    //validate configuration
    ret = coap_validate();
    if(ret != 0)
    {
        LOG_ERR("Failed to validate CoAP client");
        k_sleep(K_FOREVER);
    }
    #endif //CONFIG_COAP_TWT_TESTBED_SERVER

    //disconnect from wifi
    ret = wifi_disconnect();
    if(ret != 0)
    {
        LOG_ERR("Failed to disconnect from wifi");
        k_sleep(K_FOREVER);
    }
    k_sleep(K_SECONDS(1));

    LOG_INF("TWT testbed initialized. Running tests ...");

    //run tests
    

    struct net_if *iface = net_if_get_first_wifi();
    struct net_if_ipv6 *iface_ipv6;
    net_if_config_ipv6_get(iface, &iface_ipv6);
    net_if_ipv6_set_base_reachable_time(iface, 1200000);
    net_if_ipv6_set_reachable_time(iface_ipv6);

/*
    struct test_sensor_ps_settings test_settings = {
                    .iterations = 1000,
                    .ps_mode= PS_MODE_LEGACY,
                    .ps_wakeup_mode= PS_WAKEUP_MODE_DTIM,
                    .test_id = 0,
                    .send_interval=5000,
    };
    test_sensor_ps(&test_settings);
*/
    //this code run the tests defined in the configuration
    //comment the following line to run custom tests instead
    //#define TESTRUNNER

    #ifdef TESTRUNNER
    run_tests();
    #else
    //example - run 12 sensor tests with different durations of 8 to 64 ms and intervals of 5 to 20 seconds
   
    for(int interval = 5000; interval <= 20000; interval *= 2)
    {
        for(int duration = 8; duration <= 64; duration *= 2)
        {
            static int i = 0;
            struct test_sensor_twt_settings test_settings = {
                            .iterations = 1000,
                            .twt_interval = interval,
                            .twt_wake_interval = duration,
                            .test_id = i++, 
                            .recover = false,
                            .wake_ahead_ms = 100,
            };
            test_sensor_twt(&test_settings);
        }
    }
    
    #endif //TESTRUNNER


    LOG_INF("Tests Finished!");


    k_sleep(K_FOREVER);
    return 0;
}
```
